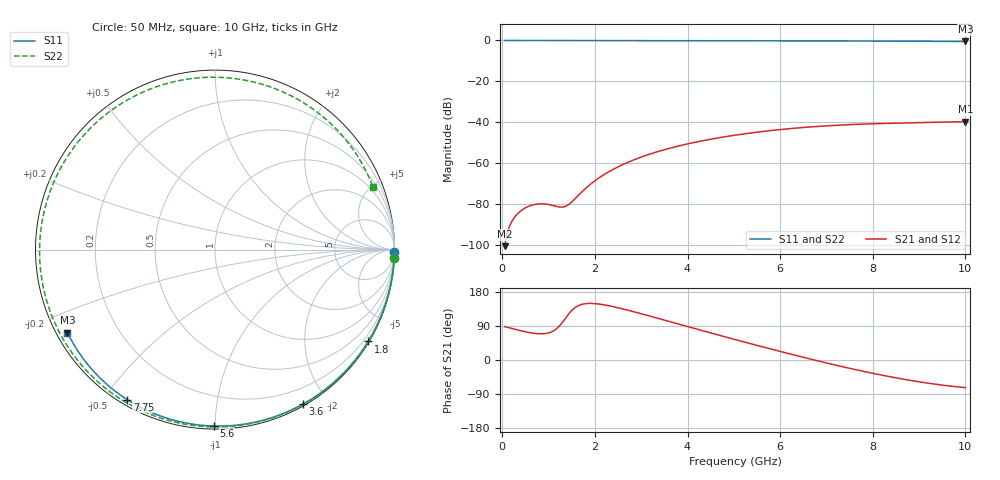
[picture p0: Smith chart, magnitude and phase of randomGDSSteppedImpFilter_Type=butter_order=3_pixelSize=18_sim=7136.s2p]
! freq	dB(S11)	phase(S11)	dB(S12)	phase(S12)
!  dB(S21)	phase(S21)	dB(S22)	phase(S22)
!S-par simulation data
#  GHz  S  DB  R 50
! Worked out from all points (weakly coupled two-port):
!   200 points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, 50 MHz to 10 GHz, reference 50 ohm
!   highest |S21| = -39.67 dB at 10 GHz (marker M1); lowest = -100.6 dB at 50 MHz (marker M2)
!   lowest |S11| = -0.5 dB at 10 GHz (marker M3), VSWR 34.26, Z = 1.56 - j13.1 ohm
!   |S11| at or under -10 dB: nowhere
!   |S22| runs from -0.5 to 0.0 dB; largest |S21 - S12| = 0
!   S11 on the Smith chart (normalised r, x): 50 MHz: open; 1.8 GHz: 0.03, -3.62; 3.6 GHz: 0.02, -1.72; 5.6 GHz: 0.02, -0.99; 7.75 GHz: 0.02, -0.57; 10 GHz: 0.03, -0.26
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0.05  -0.00 -0.9  -100.57 88.3  -100.57 88.3  -0.00 -2.6
0.35  -0.01 -6.1  -84.27 78.7  -84.27 78.7  -0.02 -17.8
0.65  -0.01 -11.3  -80.47 71.0  -80.47 71.0  -0.04 -32.8
1.05  -0.02 -18.2  -80.45 73.6  -80.45 73.6  -0.07 -52.1
1.45  -0.03 -25.0  -79.93 124.1  -79.93 124.1  -0.08 -70.3
1.75  -0.04 -30.1  -73.35 147.7  -73.35 147.7  -0.10 -83.1
1.8  -0.04 -30.9  -72.31 148.7  -72.31 148.7  -0.10 -85.2
2.1  -0.05 -35.9  -67.00 147.5  -67.00 147.5  -0.11 -97.3
2.45  -0.05 -41.7  -62.35 139.3  -62.35 139.3  -0.12 -110.6
2.95  -0.06 -49.9  -57.42 123.8  -57.42 123.8  -0.14 -128.2
3.4  -0.08 -57.1  -54.06 108.7  -54.06 108.7  -0.15 -143.0
3.6  -0.08 -60.3  -52.79 101.9  -52.79 101.9  -0.16 -149.3
4.3  -0.10 -71.1  -49.14 78.1  -49.14 78.1  -0.18 -170.4
5.05  -0.13 -82.4  -46.22 53.2  -46.22 53.2  -0.22 168.2
5.6  -0.15 -90.4  -44.56 35.4  -44.56 35.4  -0.24 152.7
6.15  -0.17 -98.3  -43.24 18.0  -43.24 18.0  -0.27 137.3
6.7  -0.21 -106.0  -42.20 1.1  -42.20 1.1  -0.30 121.7
7.25  -0.24 -113.6  -41.43 -15.0  -41.43 -15.0  -0.32 105.7
7.75  -0.28 -120.4  -40.92 -28.7  -40.92 -28.7  -0.35 90.9
8.35  -0.33 -128.4  -40.51 -43.6  -40.51 -43.6  -0.38 72.7
9.1  -0.40 -138.5  -40.15 -59.4  -40.15 -59.4  -0.41 49.4
10  -0.51 -150.6  -39.67 -72.9  -39.67 -72.9  -0.48 21.5
